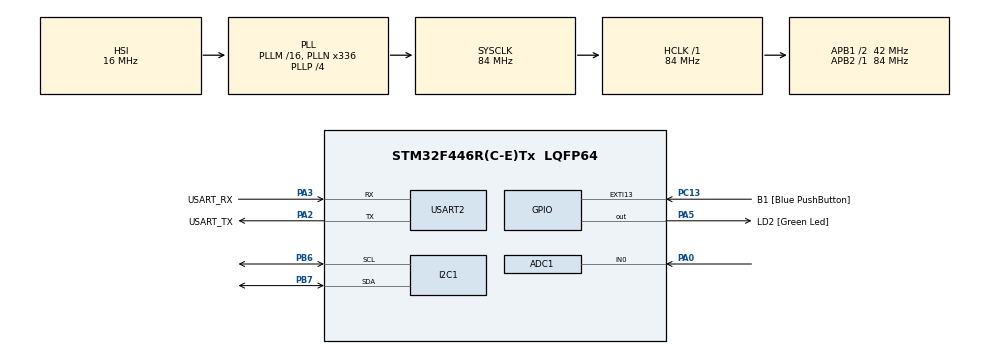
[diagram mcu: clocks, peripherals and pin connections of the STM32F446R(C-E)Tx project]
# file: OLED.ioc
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ADC1.Channel-0\#ChannelRegularConversion=ADC_CHANNEL_0
ADC1.ContinuousConvMode=ENABLE
ADC1.NbrOfConversionFlag=1
ADC1.Rank-0\#ChannelRegularConversion=1
ADC1.SamplingTime-0\#ChannelRegularConversion=ADC_SAMPLETIME_3CYCLES
ADC1.master=1
FREERTOS.Tasks01=defaultTask,24,128,StartDefaultTask,Default,NULL,Dynamic,NULL,NULL;LCD,40,128,StartTask02,Default,NULL,Dynamic,NULL,NULL;volotmetre,40,128,StartTask03,Default,NULL,Dynamic,NULL,NULL
I2C1.I2C_Mode=I2C_Fast
Mcu.Family=STM32F4
Mcu.Name=STM32F446R(C-E)Tx
Mcu.Package=LQFP64
NVIC.PriorityGroup=NVIC_PRIORITYGROUP_4
NVIC.TIM6_DAC_IRQn=true\:15\:0\:false\:false\:true\:false\:false\:true\:true
NVIC.TimeBase=TIM6_DAC_IRQn
NVIC.TimeBaseIP=TIM6
PA0-WKUP.Signal=ADCx_IN0
PA13.GPIO_Label=TMS
PA13.Mode=Serial_Wire
PA13.Signal=SYS_JTMS-SWDIO
PA14.GPIO_Label=TCK
PA14.Mode=Serial_Wire
PA14.Signal=SYS_JTCK-SWCLK
PA2.GPIO_Label=USART_TX
PA2.Mode=Asynchronous
PA2.Signal=USART2_TX
PA3.GPIO_Label=USART_RX
PA3.Mode=Asynchronous
PA3.Signal=USART2_RX
PA5.GPIO_Label=LD2 [Green Led]
PA5.Signal=GPIO_Output
PB3.GPIO_Label=SWO
PB3.Signal=SYS_JTDO-SWO
PB6.Mode=I2C
PB6.Signal=I2C1_SCL
PB7.Mode=I2C
PB7.Signal=I2C1_SDA
PC13.GPIO_Label=B1 [Blue PushButton]
PC13.GPIO_ModeDefaultEXTI=GPIO_MODE_IT_FALLING
PC13.Signal=GPXTI13
PC14-OSC32_IN.Mode=LSE-External-Oscillator
PC14-OSC32_IN.Signal=RCC_OSC32_IN
PC15-OSC32_OUT.Mode=LSE-External-Oscillator
PC15-OSC32_OUT.Signal=RCC_OSC32_OUT
PH0-OSC_IN.Mode=HSE-External-Oscillator
PH0-OSC_IN.Signal=RCC_OSC_IN
PH1-OSC_OUT.Mode=HSE-External-Oscillator
PH1-OSC_OUT.Signal=RCC_OSC_OUT
ProjectManager.HeapSize=0x200
ProjectManager.StackSize=0x400
ProjectManager.TargetToolchain=STM32CubeIDE
RCC.48MHZClocksFreq_Value=84000000
RCC.AHBFreq_Value=84000000
RCC.APB1CLKDivider=RCC_HCLK_DIV2
RCC.APB1Freq_Value=42000000
RCC.APB1TimFreq_Value=84000000
RCC.APB2Freq_Value=84000000
RCC.APB2TimFreq_Value=84000000
RCC.CortexFreq_Value=84000000
RCC.FLatency-AdvancedSettings=FLASH_LATENCY_2
RCC.HCLKFreq_Value=84000000
RCC.HSE_VALUE=8000000
RCC.HSI_VALUE=16000000
RCC.PLLN=336
RCC.PLLP=RCC_PLLP_DIV4
RCC.SYSCLKFreq_VALUE=84000000
RCC.SYSCLKSource=RCC_SYSCLKSOURCE_PLLCLK
RCC.USBFreq_Value=168000000
RCC.VCOOutputFreq_Value=336000000
SH.ADCx_IN0.0=ADC1_IN0,IN0
USART2.VirtualMode=VM_ASYNC
VP_FREERTOS_VS_CMSIS_V2.Mode=CMSIS_V2
VP_SYS_VS_tim6.Mode=TIM6
board=NUCLEO-F446RE

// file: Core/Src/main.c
/* USER CODE BEGIN Header */
/**
  ******************************************************************************
  * @file           : main.c
  * @brief          : Main program body
  ******************************************************************************
  * @attention
  *
  * Copyright (c) 2024 STMicroelectronics.
  * All rights reserved.
  *
  * This software is licensed under terms that can be found in the LICENSE file
  * in the root directory of this software component.
  * If no LICENSE file comes with this software, it is provided AS-IS.
  *
  ******************************************************************************
  */
/* USER CODE END Header */
#include "main.h"
#include "cmsis_os.h"

/* USER CODE BEGIN Includes */
#include "fonts.h"
#include "ssd1306.h"
#include "stdio.h"
#include "string.h"

/* USER CODE END Includes */

ADC_HandleTypeDef hadc1;

I2C_HandleTypeDef hi2c1;

UART_HandleTypeDef huart2;

/* Definitions for defaultTask */
osThreadId_t defaultTaskHandle;
const osThreadAttr_t defaultTask_attributes = {
  .name = "defaultTask",
  .stack_size = 128 * 4,
  .priority = (osPriority_t) osPriorityNormal,
};
/* Definitions for LCD */
osThreadId_t LCDHandle;
const osThreadAttr_t LCD_attributes = {
  .name = "LCD",
  .stack_size = 128 * 4,
  .priority = (osPriority_t) osPriorityHigh,
};
/* Definitions for volotmetre */
osThreadId_t volotmetreHandle;
const osThreadAttr_t volotmetre_attributes = {
  .name = "volotmetre",
  .stack_size = 128 * 4,
  .priority = (osPriority_t) osPriorityHigh,
};

void SystemClock_Config(void);
static void MX_GPIO_Init(void);
static void MX_USART2_UART_Init(void);
static void MX_I2C1_Init(void);
static void MX_ADC1_Init(void);
void StartDefaultTask(void *argument);
void StartTask02(void *argument);
void StartTask03(void *argument);

/* USER CODE BEGIN 0 */

uint32_t sensorValue = 0;
float fvoltage = 0;
char msg[100];

/* USER CODE END 0 */

int main(void)
{
  /* USER CODE BEGIN 1 */

	sprintf(msg, "%.2f v", fvoltage);
  /* USER CODE END 1 */

  /* MCU Configuration--------------------------------------------------------*/

  /* Reset of all peripherals, Initializes the Flash interface and the Systick. */
  HAL_Init();

  /* Configure the system clock */
  SystemClock_Config();

  /* Initialize all configured peripherals */
  MX_GPIO_Init();
  MX_USART2_UART_Init();
  MX_I2C1_Init();
  MX_ADC1_Init();
  /* USER CODE BEGIN 2 */
  HAL_ADC_Start(&hadc1);

  SSD1306_Init();
//  char snum[5];

  SSD1306_GotoXY (0,0);
//  SSD1306_Puts ("NIZAR", &Font_11x18, 1);
//  SSD1306_GotoXY (0, 30);
//  SSD1306_Puts ("MOHIDEEN", &Font_11x18, 1);
//  SSD1306_UpdateScreen();
//  HAL_Delay (1000);
//
//  SSD1306_ScrollRight(0,7);
//  HAL_Delay(3000);
//  SSD1306_ScrollLeft(0,7);
//  HAL_Delay(3000);
//  SSD1306_Stopscroll();
//  SSD1306_Clear();
//  SSD1306_GotoXY (35,0);
//  SSD1306_Puts ("SCORE", &Font_11x18, 1);

  /* USER CODE END 2 */

  /* Init scheduler */
  osKernelInitialize();

  /* Create the thread(s) */
  /* creation of defaultTask */
  defaultTaskHandle = osThreadNew(StartDefaultTask, NULL, &defaultTask_attributes);

  /* creation of LCD */
  LCDHandle = osThreadNew(StartTask02, NULL, &LCD_attributes);

  /* creation of volotmetre */
  volotmetreHandle = osThreadNew(StartTask03, NULL, &volotmetre_attributes);

  /* Start scheduler */
  osKernelStart();

  /* We should never get here as control is now taken by the scheduler */
  /* Infinite loop */
  /* USER CODE BEGIN WHILE */
  while (1)
  {
//	  startTask()
//	  	 HAL_ADC_Start(&hadc1);
//
//	  	 /*2. Poll for conversion */
//	  	 HAL_ADC_PollForConversion(&hadc1,1);
//
//	  	 /*3. Get conversion */
//	  	 sensorValue = HAL_ADC_GetValue(&hadc1);
//	  	 fvoltage = (float)sensorValue * (3.3/4095.0);
//
//	  sprintf(msg, "%.2f v", fvoltage);
//
//	  HAL_UART_Transmit(&huart2, (uint8_t*)msg, strlen(msg), HAL_MAX_DELAY);
//
//	  SSD1306_GotoXY (0, 30);
////	  SSD1306_UpdateScreen();
//	  	  		SSD1306_Puts (msg, &Font_11x18, 1);
//	  	  		SSD1306_UpdateScreen();
//	  	  		HAL_Delay(500);

///////////////////////////////////////////////////////////////////////////

//	  for ( int x = 1; x <= 10000 ; x++ )
//	  	{
//	  		itoa(x, snum, 10);
//	  		SSD1306_GotoXY (0, 30);
//	  		SSD1306_Puts ("tests", &Font_16x26, 1);
//	  		SSD1306_UpdateScreen();
//	  		if(x < 10) {
//	  			SSD1306_GotoXY (53, 30);  // 1 DIGIT
//	  		}
//	  		else if (x < 100 ) {
//	  			SSD1306_GotoXY (45, 30);  // 2 DIGITS
//	  		}
//	  		else if (x < 1000 ) {
//	  			SSD1306_GotoXY (37, 30);  // 3 DIGITS
//	  		}
//	  		else {
//	  			SSD1306_GotoXY (30, 30);  // 4 DIGIS
//	  		}
//	  		SSD1306_Puts (snum, &Font_16x26, 1);
//	  		//SSD1306_Puts ("123", &Font_16x26, 1);
//	  		SSD1306_UpdateScreen();
//	  		HAL_Delay (500);
//	  }
    /* USER CODE END WHILE */

  }
}

void SystemClock_Config(void)
{
  RCC_OscInitTypeDef RCC_OscInitStruct = {0};
  RCC_ClkInitTypeDef RCC_ClkInitStruct = {0};

  /** Configure the main internal regulator output voltage
  */
  __HAL_RCC_PWR_CLK_ENABLE();
  __HAL_PWR_VOLTAGESCALING_CONFIG(PWR_REGULATOR_VOLTAGE_SCALE3);

  /** Initializes the RCC Oscillators according to the specified parameters
  * in the RCC_OscInitTypeDef structure.
  */
  RCC_OscInitStruct.OscillatorType = RCC_OSCILLATORTYPE_HSI;
  RCC_OscInitStruct.HSIState = RCC_HSI_ON;
  RCC_OscInitStruct.HSICalibrationValue = RCC_HSICALIBRATION_DEFAULT;
  RCC_OscInitStruct.PLL.PLLState = RCC_PLL_ON;
  RCC_OscInitStruct.PLL.PLLSource = RCC_PLLSOURCE_HSI;
  RCC_OscInitStruct.PLL.PLLM = 16;
  RCC_OscInitStruct.PLL.PLLN = 336;
  RCC_OscInitStruct.PLL.PLLP = RCC_PLLP_DIV4;
  RCC_OscInitStruct.PLL.PLLQ = 2;
  RCC_OscInitStruct.PLL.PLLR = 2;
  if (HAL_RCC_OscConfig(&RCC_OscInitStruct) != HAL_OK)
  {
    Error_Handler();
  }

  /** Initializes the CPU, AHB and APB buses clocks
  */
  RCC_ClkInitStruct.ClockType = RCC_CLOCKTYPE_HCLK|RCC_CLOCKTYPE_SYSCLK
                              |RCC_CLOCKTYPE_PCLK1|RCC_CLOCKTYPE_PCLK2;
  RCC_ClkInitStruct.SYSCLKSource = RCC_SYSCLKSOURCE_PLLCLK;
  RCC_ClkInitStruct.AHBCLKDivider = RCC_SYSCLK_DIV1;
  RCC_ClkInitStruct.APB1CLKDivider = RCC_HCLK_DIV2;
  RCC_ClkInitStruct.APB2CLKDivider = RCC_HCLK_DIV1;

  if (HAL_RCC_ClockConfig(&RCC_ClkInitStruct, FLASH_LATENCY_2) != HAL_OK)
  {
    Error_Handler();
  }
}

static void MX_ADC1_Init(void)
{

  ADC_ChannelConfTypeDef sConfig = {0};

  /** Configure the global features of the ADC (Clock, Resolution, Data Alignment and number of conversion)
  */
  hadc1.Instance = ADC1;
  hadc1.Init.ClockPrescaler = ADC_CLOCK_SYNC_PCLK_DIV4;
  hadc1.Init.Resolution = ADC_RESOLUTION_12B;
  hadc1.Init.ScanConvMode = DISABLE;
  hadc1.Init.ContinuousConvMode = ENABLE;
  hadc1.Init.DiscontinuousConvMode = DISABLE;
  hadc1.Init.ExternalTrigConvEdge = ADC_EXTERNALTRIGCONVEDGE_NONE;
  hadc1.Init.ExternalTrigConv = ADC_SOFTWARE_START;
  hadc1.Init.DataAlign = ADC_DATAALIGN_RIGHT;
  hadc1.Init.NbrOfConversion = 1;
  hadc1.Init.DMAContinuousRequests = DISABLE;
  hadc1.Init.EOCSelection = ADC_EOC_SINGLE_CONV;
  if (HAL_ADC_Init(&hadc1) != HAL_OK)
  {
    Error_Handler();
  }

  /** Configure for the selected ADC regular channel its corresponding rank in the sequencer and its sample time.
  */
  sConfig.Channel = ADC_CHANNEL_0;
  sConfig.Rank = 1;
  sConfig.SamplingTime = ADC_SAMPLETIME_3CYCLES;
  if (HAL_ADC_ConfigChannel(&hadc1, &sConfig) != HAL_OK)
  {
    Error_Handler();
  }

}

static void MX_I2C1_Init(void)
{

  hi2c1.Instance = I2C1;
  hi2c1.Init.ClockSpeed = 400000;
  hi2c1.Init.DutyCycle = I2C_DUTYCYCLE_2;
  hi2c1.Init.OwnAddress1 = 0;
  hi2c1.Init.AddressingMode = I2C_ADDRESSINGMODE_7BIT;
  hi2c1.Init.DualAddressMode = I2C_DUALADDRESS_DISABLE;
  hi2c1.Init.OwnAddress2 = 0;
  hi2c1.Init.GeneralCallMode = I2C_GENERALCALL_DISABLE;
  hi2c1.Init.NoStretchMode = I2C_NOSTRETCH_DISABLE;
  if (HAL_I2C_Init(&hi2c1) != HAL_OK)
  {
    Error_Handler();
  }

}

static void MX_USART2_UART_Init(void)
{

  huart2.Instance = USART2;
  huart2.Init.BaudRate = 115200;
  huart2.Init.WordLength = UART_WORDLENGTH_8B;
  huart2.Init.StopBits = UART_STOPBITS_1;
  huart2.Init.Parity = UART_PARITY_NONE;
  huart2.Init.Mode = UART_MODE_TX_RX;
  huart2.Init.HwFlowCtl = UART_HWCONTROL_NONE;
  huart2.Init.OverSampling = UART_OVERSAMPLING_16;
  if (HAL_UART_Init(&huart2) != HAL_OK)
  {
    Error_Handler();
  }

}

static void MX_GPIO_Init(void)
{
  GPIO_InitTypeDef GPIO_InitStruct = {0};

  /* GPIO Ports Clock Enable */
  __HAL_RCC_GPIOC_CLK_ENABLE();
  __HAL_RCC_GPIOH_CLK_ENABLE();
  __HAL_RCC_GPIOA_CLK_ENABLE();
  __HAL_RCC_GPIOB_CLK_ENABLE();

  /*Configure GPIO pin Output Level */
  HAL_GPIO_WritePin(LD2_GPIO_Port, LD2_Pin, GPIO_PIN_RESET);

  /*Configure GPIO pin : B1_Pin */
  GPIO_InitStruct.Pin = B1_Pin;
  GPIO_InitStruct.Mode = GPIO_MODE_IT_FALLING;
  GPIO_InitStruct.Pull = GPIO_NOPULL;
  HAL_GPIO_Init(B1_GPIO_Port, &GPIO_InitStruct);

  /*Configure GPIO pin : LD2_Pin */
  GPIO_InitStruct.Pin = LD2_Pin;
  GPIO_InitStruct.Mode = GPIO_MODE_OUTPUT_PP;
  GPIO_InitStruct.Pull = GPIO_NOPULL;
  GPIO_InitStruct.Speed = GPIO_SPEED_FREQ_LOW;
  HAL_GPIO_Init(LD2_GPIO_Port, &GPIO_InitStruct);

}

void StartDefaultTask(void *argument)
{
  for(;;)
  {
    osDelay(1);
  }
}

void StartTask02(void *argument)
{
  /* USER CODE BEGIN StartTask02 */

  /* Infinite loop */
  for(;;)
  {
	  HAL_ADC_Start(&hadc1);
	  	  	 /*2. Poll for conversion */
	  	  	 HAL_ADC_PollForConversion(&hadc1,1);

	  	  	 /*3. Get conversion */
	  	  	 sensorValue = HAL_ADC_GetValue(&hadc1);
	  	  	 fvoltage = (float)sensorValue * (3.3/4095.0);
//	  	  	 fvoltage ++;
	  	  	sprintf(msg, "%.2f v", fvoltage);

	  	  HAL_UART_Transmit(&huart2, (uint8_t*)msg, strlen(msg), HAL_MAX_DELAY);
    //osDelay(1);
  }
  /* USER CODE END StartTask02 */
}

void StartTask03(void *argument)
{
  /* USER CODE BEGIN StartTask03 */
  /* Infinite loop */
  for(;;)
  {

	  SSD1306_GotoXY (0, 30);
	  	  SSD1306_UpdateScreen();
	  	  SSD1306_Puts (msg, &Font_11x18, 1);
	  	  SSD1306_UpdateScreen();
	  	  HAL_Delay(500);
//	  osDelay(1);
  }
  /* USER CODE END StartTask03 */
}

void HAL_TIM_PeriodElapsedCallback(TIM_HandleTypeDef *htim)
{
  if (htim->Instance == TIM6) {
    HAL_IncTick();
  }
}

void Error_Handler(void)
{
  __disable_irq();
  while (1)
  {
  }
}
